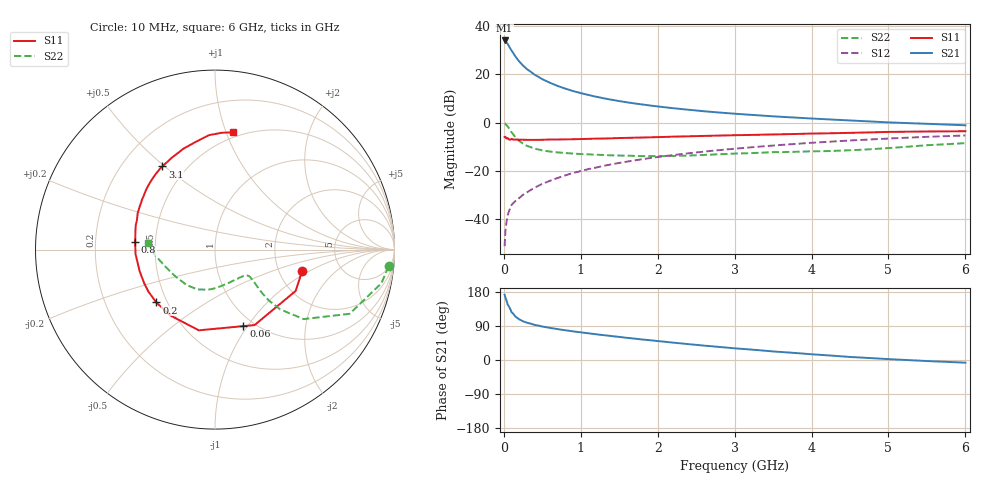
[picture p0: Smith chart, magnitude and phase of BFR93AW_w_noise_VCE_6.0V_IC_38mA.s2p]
! (c) 2017  Infineon Technologies AG, Munich
! Infineon Technologies  Discrete & RF Semiconductors
! BFR93AW
! VCE =  6.0 V,  IC =  38 mA
! Common Emitter S-Parameters:  Jan 2017
# GHz  S  MA  R  50
!  f  S11  S21  S12  S22
! GHz  MAG  ANG  MAG  ANG  MAG  ANG  MAG  ANG
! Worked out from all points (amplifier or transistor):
!   77 points, 10 MHz to 6 GHz, reference 50 ohm
!   highest |S21| = 34.1 dB at 10 MHz (marker M1)
!   |S21| within 3 dB of that: start of sweep to 78.12 MHz
!   unconditionally stable (mu >= 1): 556.9 MHz to 2.025 GHz
!   at 130 MHz: K = 0.56, MSG = 30.9 dB, |S12| = -33.2 dB
!   at 2.2 GHz: K = 0.99, MSG = 9.7 dB, |S12| = -13.5 dB
!   at 6 GHz: K = 0.88, MSG = 2.1 dB, |S12| = -5.4 dB
!   lowest NFmin = 1.99 dB at 450 MHz
!   S11 on the Smith chart (normalised r, x): 10 MHz: 2.69, -0.85; 60 MHz: 0.89, -0.96; 200 MHz: 0.44, -0.32; 800 MHz: 0.38, +0.04; 3.1 GHz: 0.37, +0.49; 6 GHz: 0.45, +1.05
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0.01  0.5001 -13.7  50.68 172.1  0.0027 85.8  0.9712 -5.5
0.02  0.5049 -27.2  50.04 165.2  0.0054 81.1  0.9463 -11.4
0.05  0.4748 -62.3  42.97 146.4  0.0119 67.9  0.8309 -25.5
0.06  0.4548 -69.6  40.32 143.3  0.0134 66.3  0.7877 -27.5
0.1  0.4587 -101.3  31.36 126.2  0.0194 62.3  0.6274 -38.1
0.15  0.4434 -124.1  23.53 114.7  0.0234 59.2  0.4937 -42.5
0.2  0.4399 -138.0  18.54 107.4  0.027 61.5  0.4135 -43.4
0.25  0.4387 -147.7  15.24 102.1  0.0316 62.2  0.3631 -42.8
0.3  0.4368 -154.6  12.87 98.4  0.0354 64.0  0.3273 -41.8
0.4  0.4368 -164.2  9.862 92.6  0.044 66.8  0.2872 -39.9
0.5  0.4377 -171.1  7.952 88.3  0.0532 68.9  0.2636 -38.7
0.6  0.4434 -176.8  6.686 84.7  0.0617 69.5  0.2492 -38.0
0.7  0.444 179.0  5.753 81.5  0.0705 70.7  0.2395 -38.0
0.8  0.4474 174.8  5.059 78.4  0.08 71.1  0.2324 -38.5
0.9  0.4494 171.2  4.507 75.6  0.0895 70.7  0.2265 -39.5
1.1  0.4581 165.0  3.732 70.5  0.1078 70.6  0.2182 -42.1
1.5  0.4764 154.6  2.788 60.9  0.1446 68.8  0.2061 -51.0
2.1  0.5025 141.1  2.069 48.0  0.2012 64.4  0.2009 -70.0
3.1  0.5483 122.3  1.486 29.3  0.2947 55.4  0.2283 -102.6
4.1  0.593 105.7  1.189 13.8  0.3876 45.4  0.2534 -131.9
5.1  0.6404 91.8  0.993 1.3  0.4723 34.4  0.3022 -165.0
6  0.6607 81.5  0.876 -7.1  0.5388 24.3  0.3734 174.7
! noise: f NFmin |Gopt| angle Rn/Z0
0.45  1.99  0.22  179  0.16
0.9  2.27  0.28  -171  0.17
1.9  3.33  0.52  -133  0.34
2.4  4.02  0.56  -123  0.63
